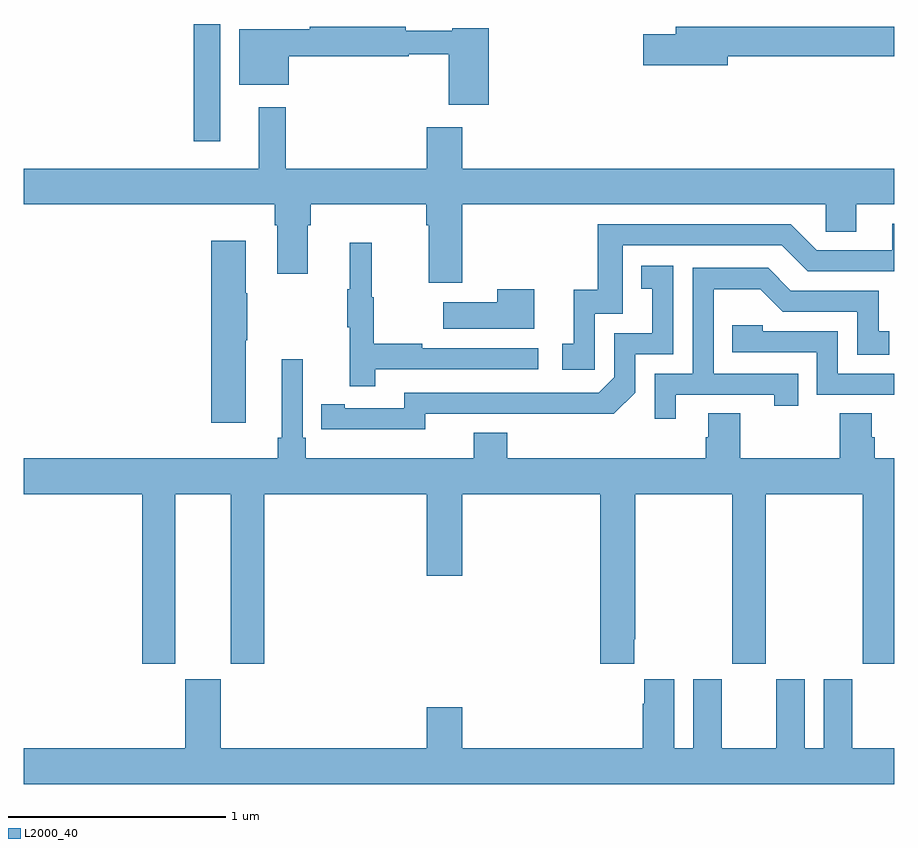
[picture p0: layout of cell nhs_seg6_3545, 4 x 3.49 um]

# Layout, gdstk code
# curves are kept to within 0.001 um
import gdstk
lib = gdstk.Library(unit=1e-6, precision=1e-09)
def R(c, l, rs):  # rectangles x0, y0, x1, y1
    for r in rs: c.add(gdstk.rectangle(r[:2], r[2:], *l))
def P(c, l, *ps):  # polygons
    for p in ps: c.add(gdstk.Polygon(p, *l))
L2000_40 = (2000, 40)

nhs_seg6_3545 = lib.new_cell('nhs_seg6_3545')
R(nhs_seg6_3545, L2000_40, [(319.782,944.961,319.903,945.5)])
P(nhs_seg6_3545, L2000_40, [(321.137,945.481),(320.97,945.481),(320.97,945.469),(320.756,945.469),(320.756,945.488),(320.314,945.488),(320.314,945.475),(319.991,945.475),(319.991,945.221),(320.218,945.221),(320.218,945.352),(320.77,945.352),(320.77,945.36),(320.954,945.36),(320.954,945.129),(321.137,945.129)],
  [(322.234,945.352),(323,945.352),(323,945.488),(321.995,945.488),(321.995,945.452),(321.846,945.452),(321.846,945.31),(322.234,945.31)],
  [(321.014,944.672),(322.686,944.672),(322.686,944.545),(322.825,944.545),(322.825,944.672),(323,944.672),(323,944.836),(321.016,944.836),(321.016,945.025),(320.852,945.025),(320.852,944.836),(320.203,944.836),(320.203,945.118),(320.081,945.118),(320.081,944.836),(319,944.836),(319,944.672),(320.153,944.672),(320.153,944.576),(320.165,944.576),(320.165,944.352),(320.305,944.352),(320.305,944.576),(320.318,944.576),(320.318,944.672),(320.849,944.672),(320.849,944.576),(320.861,944.576),(320.861,944.31),(321.014,944.31)],
  [(321.624,944.169),(321.753,944.169),(321.753,944.484),(322.482,944.484),(322.602,944.364),(323,944.364),(323,944.583),(322.991,944.583),(322.991,944.46),(322.644,944.46),(322.524,944.58),(321.637,944.58),(321.637,944.278),(321.527,944.278),(321.527,944.031),(321.474,944.031),(321.474,943.911),(321.624,943.911)],
  [(320.02,944.047),(320.028,944.047),(320.028,944.264),(320.02,944.264),(320.02,944.503),(319.862,944.503),(319.862,943.668),(320.02,943.668)],
  [(320.615,943.914),(321.364,943.914),(321.364,944.01),(320.831,944.01),(320.831,944.03),(320.608,944.03),(320.608,944.244),(320.6,944.244),(320.6,944.494),(320.498,944.494),(320.498,944.281),(320.487,944.281),(320.487,944.107),(320.498,944.107),(320.498,943.836),(320.615,943.836)],
  [(320.844,943.71),(321.712,943.709),(321.81,943.806),(321.81,943.983),(321.984,943.983),(321.984,944.389),(321.838,944.389),(321.838,944.283),(321.887,944.283),(321.887,944.079),(321.714,944.079),(321.714,943.878),(321.642,943.806),(320.748,943.806),(320.748,943.734),(320.476,943.734),(320.476,943.754),(320.368,943.754),(320.368,943.638),(320.844,943.637)],
  [(321.997,943.797),(322.448,943.797),(322.448,943.746),(322.559,943.746),(322.559,943.893),(322.17,943.893),(322.17,944.282),(322.384,944.282),(322.488,944.178),(322.83,944.178),(322.83,943.98),(322.978,943.98),(322.978,944.089),(322.929,944.089),(322.929,944.274),(322.525,944.274),(322.42,944.379),(322.074,944.379),(322.074,943.893),(321.9,943.893),(321.9,943.686),(321.997,943.686)],
  [(321.346,944.281),(321.176,944.281),(321.176,944.221),(320.927,944.221),(320.927,944.099),(321.346,944.099)],
  [(323,943.893),(322.74,943.893),(322.74,944.088),(322.395,944.088),(322.395,944.115),(322.255,944.115),(322.255,943.992),(322.644,943.992),(322.644,943.797),(323,943.797)],
  [(319.696,943.34),(319.952,943.34),(319.952,942.561),(320.105,942.561),(320.105,943.34),(320.852,943.34),(320.852,942.966),(321.016,942.966),(321.016,943.34),(321.65,943.34),(321.65,942.561),(321.805,942.561),(321.805,942.673),(321.81,942.673),(321.81,943.34),(322.255,943.34),(322.255,942.561),(322.41,942.561),(322.41,943.34),(322.855,943.34),(322.855,942.561),(323,942.561),(323,943.504),(322.91,943.504),(322.91,943.602),(322.897,943.602),(322.897,943.712),(322.75,943.712),(322.75,943.504),(322.293,943.504),(322.293,943.712),(322.145,943.712),(322.145,943.602),(322.133,943.602),(322.133,943.504),(321.221,943.504),(321.221,943.621),(321.068,943.621),(321.068,943.504),(320.297,943.504),(320.297,943.6),(320.283,943.6),(320.283,943.96),(320.186,943.96),(320.186,943.6),(320.167,943.6),(320.167,943.504),(319,943.504),(319,943.34),(319.544,943.34),(319.544,942.561),(319.696,942.561)],
  [(323,942.172),(322.807,942.172),(322.807,942.49),(322.676,942.49),(322.676,942.172),(322.588,942.172),(322.588,942.49),(322.457,942.49),(322.457,942.172),(322.207,942.172),(322.207,942.49),(322.076,942.49),(322.076,942.172),(321.988,942.172),(321.988,942.49),(321.851,942.49),(321.851,942.377),(321.845,942.377),(321.845,942.172),(321.016,942.172),(321.016,942.361),(320.852,942.361),(320.852,942.172),(319.906,942.172),(319.906,942.489),(319.742,942.489),(319.742,942.172),(319,942.172),(319,942.008),(323,942.008)])

lib.write_gds('nhs_seg6_3545.gds')
